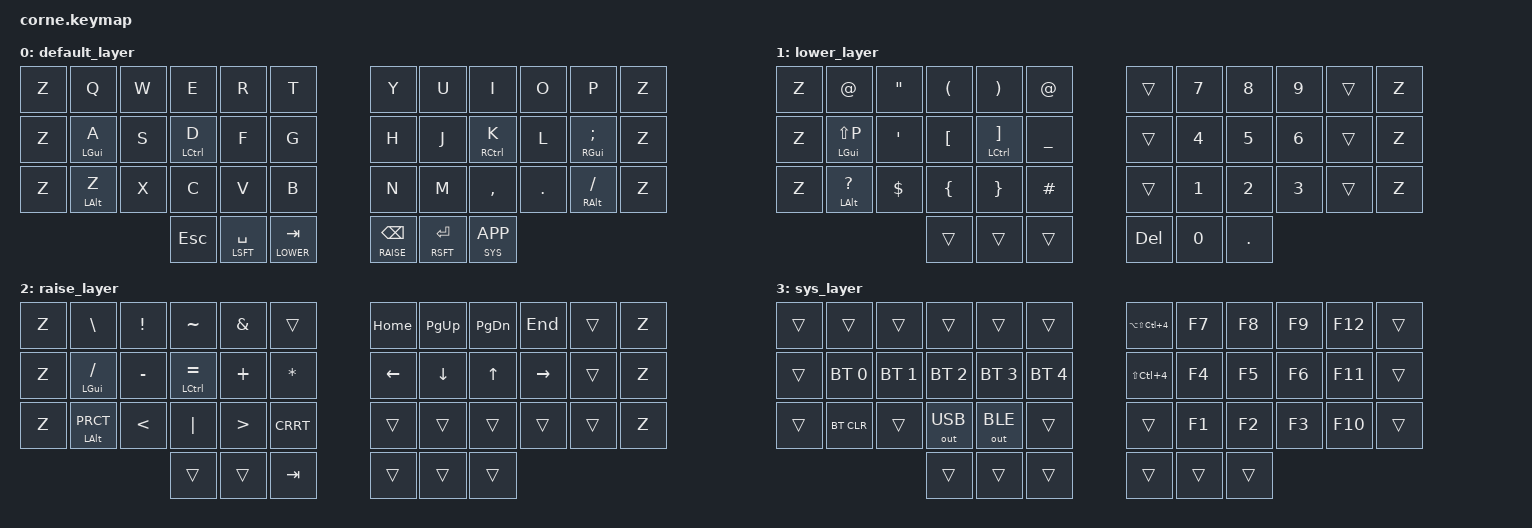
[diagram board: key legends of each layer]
/*
 * Copyright (c) 2020 The ZMK Contributors
 *
 * SPDX-License-Identifier: MIT
 */

 /*
  *  west build -b nice_nano -- -DSHIELD=corne_left -DZMK_CONFIG="/Users/rishi/Documents/GitHub/zmk-config/config"
  */

#include <behaviors.dtsi>
#include <dt-bindings/zmk/keys.h>
#include <dt-bindings/zmk/bt.h>
#include <dt-bindings/zmk/outputs.h>

#define COLEMAK 0
#define LOWER 1
#define RAISE 2
#define SYS 3

/ {
        behaviors {
            hm: homerow_mods {
                compatible = "zmk,behavior-hold-tap";
                label = "HOMEROW_MODS";
                #binding-cells = <2>;
                tapping_term_ms = <200>;
                flavor = "tap-preferred";
                bindings = <&kp>, <&kp>;
            };
        };
        keymap {
                compatible = "zmk,keymap";

                default_layer {
// -----------------------------------------------------------------------------------------
// |  TAB |  Q  |  W  |  E  |  R  |  T  |   |  Y  |  U   |  I  |  O  |  P  | BKSP |
// | CTRL |  A  |  S  |  D  |  F  |  G  |   |  H  |  J   |  K  |  L  |  ;  |  '   |
// | SHFT |  Z  |  X  |  C  |  V  |  B  |   |  N  |  M   |  ,  |  .  |  /  | SHFT |
//                    | GUI | LWR | SPC |   | ENT | RSE  | ALT |
                        bindings = <
   &kp Z &kp Q      &kp W &kp E  &kp R      &kp T      &kp Y &kp U  &kp I         &kp O   &kp P &kp Z
   &kp Z &hm LGUI A &kp S &hm LCTRL D &kp F &kp G      &kp H &kp J  &hm RCTRL K    &kp L   &hm RGUI SCLN    &kp Z
   &kp Z &hm LALT Z &kp X &kp C  &kp V      &kp B      &kp N &kp M  &kp CMMA      &kp DOT &hm RALT FSLH &kp Z
             &kp ESC  &hm LSFT SPC  &lt LOWER TAB      &lt RAISE BKSP &hm RSFT RET &lt SYS K_APP
                        >;
                };
                lower_layer {
// -----------------------------------------------------------------------------------------
// |  ESC |  1  |  2  |  3  |  4  |  5  |   |  6  |  7  |  8  |  9  |  0  | BKSP |
// | BTCLR| BT1 | BT2 | BT3 | BT4 | BT5 |   | LFT | DWN |  UP | RGT |     |      |
// | SHFT |     |     |     |     |     |   |     |     |     |     |     |      |
//                    | GUI |     | SPC |   | ENT |     | ALT |
                        bindings = <
   &kp Z   &kp AT       &kp DQT    &kp LPAR    &kp RPAR       &kp AT               &trans  &kp N7 &kp N8 &kp N9  &trans    &kp Z  
   &kp Z   &hm LGUI LS(P) &kp SQT    &kp LBKT    &hm LCTL RBKT  &kp UNDER         &trans  &kp N4 &kp N5 &kp N6  &trans    &kp Z  
   &kp Z   &hm LALT QMARK  &kp DLLR   &kp LBRC    &kp RBRC       &kp HASH          &trans  &kp N1 &kp N2 &kp N3  &trans    &kp Z  
                                       &trans     &trans         &trans            &kp DEL  &kp N0 &kp DOT
                        >;
                };
                
                raise_layer {
// -----------------------------------------------------------------------------------------
// |  ESC |  !  |  @  |  #  |  $  |  %  |   |  ^  |  &  |  *  |  (  |  )  | BKSP |
// | CTRL |     |     |     |     |     |   |  -  |  =  |  {  |  }  | "|" |  `   |
// | SHFT |     |     |     |     |     |   |  _  |  +  |  [  |  ]  |  \  |  ~   |
//                    | GUI |     | SPC |   | ENT |     | ALT |
                        bindings = <
   &kp Z &kp BSLH  &kp EXCL  &kp TILDE &kp AMPS  &trans        &kp HOME  &kp PG_UP &kp PG_DN &kp END    &trans    &kp Z
   &kp Z &hm LGUI FSLH  &kp MINUS &hm LCTL EQL   &kp PLUS  &kp STAR      &kp LEFT  &kp DOWN  &kp UP    &kp RIGHT  &trans    &kp Z
   &kp Z &hm LALT PRCT  &kp LT    &kp PIPE  &kp GT    &kp CRRT      &trans    &trans    &trans    &trans     &trans    &kp Z
                                    &trans &trans &kp TAB      &trans &trans &trans
                        >;
                };

                sys_layer {
// -----------------------------------------------------------------------------------------
// |  ESC |  1  |  2  |  3  |  4  |  5  |   |  6  |  7  |  8  |  9  |  0  | BKSP |
// | BTCLR| BT1 | BT2 | BT3 | BT4 | BT5 |   | LFT | DWN |  UP | RGT |     |      |
// | SHFT |     |     |     |     |     |   |     |     |     |     |     |      |
//                    | GUI |     | SPC |   | ENT |     | ALT |
                        bindings = <
   &trans     &trans       &trans       &trans       &trans       &trans            &kp LA(LS(LC(N4)))    &kp F7   &kp F8     &kp F9  &kp F12    &trans
   &trans     &bt BT_SEL 0 &bt BT_SEL 1 &bt BT_SEL 2 &bt BT_SEL 3 &bt BT_SEL 4      &kp LS(LC(N4))    &kp F4   &kp F5     &kp F6  &kp F11    &trans
   &trans     &bt BT_CLR   &trans       &out OUT_USB &out OUT_BLE &trans            &trans    &kp F1   &kp F2     &kp F3  &kp F10    &trans
                                        &trans       &trans       &trans            &trans    &trans   &trans
                        >;
                };
        };
};

